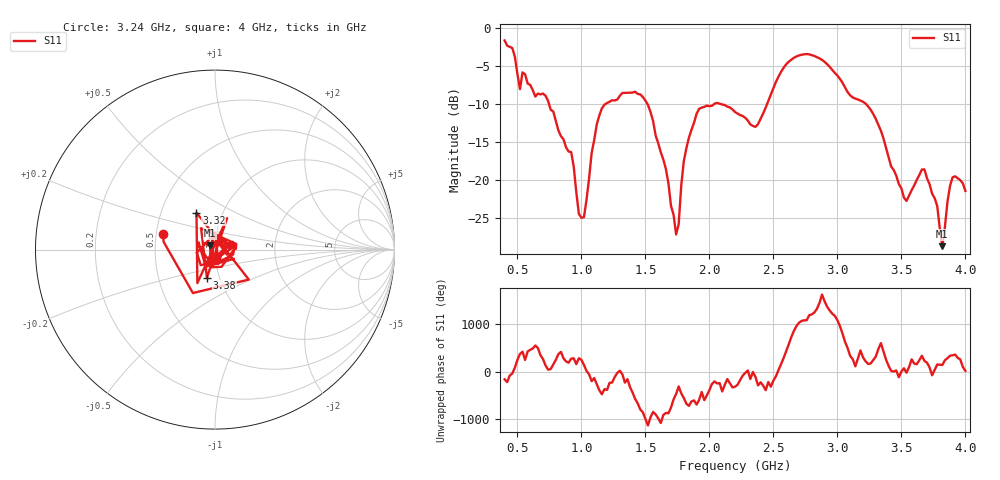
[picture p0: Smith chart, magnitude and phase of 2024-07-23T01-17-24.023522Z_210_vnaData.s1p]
!Created with skrf (http://scikit-rf.org).
# Hz S RI R 50.0
!freq ReS11 ImS11
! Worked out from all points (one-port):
!   181 points, 400 MHz to 4 GHz, reference 50 ohm
!   lowest |S11| = -28.7 dB at 3.82 GHz (marker M1), VSWR 1.08, Z = 47.2 + j2.25 ohm
!   |S11| at or under -10 dB: 746.6 MHz to 1.19 GHz (443.1 MHz wide, 45.8 % of centre); 1.515 GHz to 2.038 GHz (523 MHz wide, 29.4 % of centre); 3.222 GHz to end of sweep (the widest 3 of 4)
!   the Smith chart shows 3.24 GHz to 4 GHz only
!   S11 on the Smith chart (normalised r, x): 3.24 GHz: 0.54, +0.11; 3.32 GHz: 0.75, +0.33; 3.38 GHz: 0.87, -0.28; 4 GHz: 1.18, +0.06
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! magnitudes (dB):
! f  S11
! 400 MHz  -1.7
! 460 MHz  -2.7
! 520 MHz  -8.1
! 540 MHz  -5.9
! 720 MHz  -8.9
! 860 MHz  -14.7
! 1.02 GHz  -24.9
! 1.14 GHz  -11.5
! 1.3 GHz  -8.9
! 1.52 GHz  -10.1
! 1.66 GHz  -18.5
! 1.74 GHz  -27.1
! 1.76 GHz  -25.8
! 1.8 GHz  -17.5
! 1.9 GHz  -11.3
! 2.2 GHz  -11.1
! 2.36 GHz  -13.0
! 2.66 GHz  -3.9
! 3.1 GHz  -8.9
! 3.24 GHz  -10.3
! 3.32 GHz  -12.8
! 3.38 GHz  -15.8
! 3.56 GHz  -22.0
! 3.68 GHz  -18.6
! 3.78 GHz  -23.4
! 3.82 GHz  -28.7
! 3.9 GHz  -19.6
! 4 GHz  -21.4
